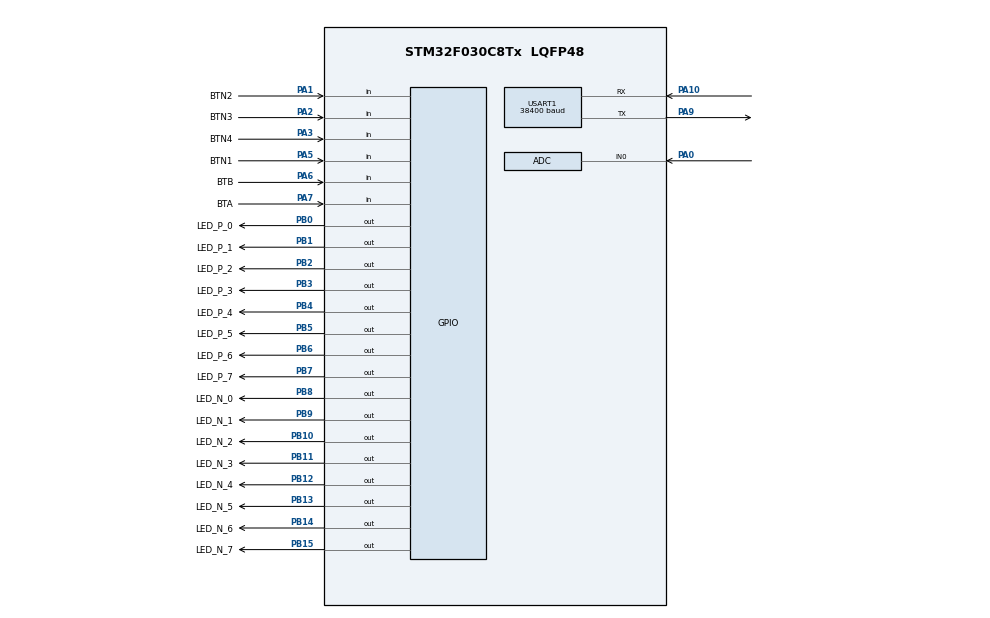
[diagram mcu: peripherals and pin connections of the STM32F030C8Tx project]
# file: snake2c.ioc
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ADC.ContinuousConvMode=ENABLE
Mcu.Family=STM32F0
Mcu.Name=STM32F030C8Tx
Mcu.Package=LQFP48
NVIC.TIM16_IRQn=true\:0\:0\:false\:false\:true\:true\:true\:true
PA0.Mode=IN0
PA0.Signal=ADC_IN0
PA1.GPIO_Label=BTN2
PA1.GPIO_PuPd=GPIO_PULLUP
PA1.Signal=GPIO_Input
PA10.Mode=Asynchronous
PA10.Signal=USART1_RX
PA13.Mode=Serial_Wire
PA13.Signal=SYS_SWDIO
PA14.Mode=Serial_Wire
PA14.Signal=SYS_SWCLK
PA2.GPIO_Label=BTN3
PA2.GPIO_PuPd=GPIO_PULLUP
PA2.Signal=GPIO_Input
PA3.GPIO_Label=BTN4
PA3.GPIO_PuPd=GPIO_PULLUP
PA3.Signal=GPIO_Input
PA5.GPIO_Label=BTN1
PA5.GPIO_PuPd=GPIO_PULLUP
PA5.Signal=GPIO_Input
PA6.GPIO_Label=BTB
PA6.GPIO_PuPd=GPIO_PULLUP
PA6.Signal=GPIO_Input
PA7.GPIO_Label=BTA
PA7.GPIO_PuPd=GPIO_PULLUP
PA7.Signal=GPIO_Input
PA9.Mode=Asynchronous
PA9.Signal=USART1_TX
PB0.GPIO_Label=LED_P_0
PB0.GPIO_Speed=GPIO_SPEED_FREQ_HIGH
PB0.Signal=GPIO_Output
PB1.GPIO_Label=LED_P_1
PB1.GPIO_Speed=GPIO_SPEED_FREQ_HIGH
PB1.Signal=GPIO_Output
PB10.GPIO_Label=LED_N_2
PB10.GPIO_ModeDefaultOutputPP=GPIO_MODE_OUTPUT_OD
PB10.GPIO_Speed=GPIO_SPEED_FREQ_HIGH
PB10.Signal=GPIO_Output
PB11.GPIO_Label=LED_N_3
PB11.GPIO_ModeDefaultOutputPP=GPIO_MODE_OUTPUT_OD
PB11.GPIO_Speed=GPIO_SPEED_FREQ_HIGH
PB11.Signal=GPIO_Output
PB12.GPIO_Label=LED_N_4
PB12.GPIO_ModeDefaultOutputPP=GPIO_MODE_OUTPUT_OD
PB12.GPIO_Speed=GPIO_SPEED_FREQ_HIGH
PB12.Signal=GPIO_Output
PB13.GPIO_Label=LED_N_5
PB13.GPIO_ModeDefaultOutputPP=GPIO_MODE_OUTPUT_OD
PB13.GPIO_Speed=GPIO_SPEED_FREQ_HIGH
PB13.Signal=GPIO_Output
PB14.GPIO_Label=LED_N_6
PB14.GPIO_ModeDefaultOutputPP=GPIO_MODE_OUTPUT_OD
PB14.GPIO_Speed=GPIO_SPEED_FREQ_HIGH
PB14.Signal=GPIO_Output
PB15.GPIO_Label=LED_N_7
PB15.GPIO_ModeDefaultOutputPP=GPIO_MODE_OUTPUT_OD
PB15.GPIO_Speed=GPIO_SPEED_FREQ_HIGH
PB15.Signal=GPIO_Output
PB2.GPIO_Label=LED_P_2
PB2.GPIO_Speed=GPIO_SPEED_FREQ_HIGH
PB2.Signal=GPIO_Output
PB3.GPIO_Label=LED_P_3
PB3.GPIO_Speed=GPIO_SPEED_FREQ_HIGH
PB3.Signal=GPIO_Output
PB4.GPIO_Label=LED_P_4
PB4.GPIO_Speed=GPIO_SPEED_FREQ_HIGH
PB4.Signal=GPIO_Output
PB5.GPIO_Label=LED_P_5
PB5.GPIO_Speed=GPIO_SPEED_FREQ_HIGH
PB5.Signal=GPIO_Output
PB6.GPIO_Label=LED_P_6
PB6.GPIO_Speed=GPIO_SPEED_FREQ_HIGH
PB6.Signal=GPIO_Output
PB7.GPIO_Label=LED_P_7
PB7.GPIO_Speed=GPIO_SPEED_FREQ_HIGH
PB7.Signal=GPIO_Output
PB8.GPIO_Label=LED_N_0
PB8.GPIO_ModeDefaultOutputPP=GPIO_MODE_OUTPUT_OD
PB8.GPIO_Speed=GPIO_SPEED_FREQ_HIGH
PB8.Signal=GPIO_Output
PB9.GPIO_Label=LED_N_1
PB9.GPIO_ModeDefaultOutputPP=GPIO_MODE_OUTPUT_OD
PB9.GPIO_Speed=GPIO_SPEED_FREQ_HIGH
PB9.Signal=GPIO_Output
ProjectManager.HeapSize=0x200
ProjectManager.StackSize=0x400
ProjectManager.TargetToolchain=STM32CubeIDE
TIM16.AutoReloadPreload=TIM_AUTORELOAD_PRELOAD_DISABLE
TIM16.ClockDivision=TIM_CLOCKDIVISION_DIV1
TIM16.CounterMode=TIM_COUNTERMODE_UP
TIM16.Period=1000
TIM16.Prescaler=0
TIM16.RepetitionCounter=0
USART1.AutoBaudRateEnableParam=UART_ADVFEATURE_AUTOBAUDRATE_DISABLE
USART1.BaudRate=38400
USART1.DMADisableonRxErrorParam=ADVFEATURE_DMA_ENABLEONRXERROR
USART1.DataInvertParam=ADVFEATURE_DATAINV_DISABLE
USART1.MSBFirstParam=ADVFEATURE_MSBFIRST_DISABLE
USART1.Mode=MODE_TX_RX
USART1.OneBitSampling=UART_ONE_BIT_SAMPLE_DISABLE
USART1.OverSampling=UART_OVERSAMPLING_16
USART1.OverrunDisableParam=ADVFEATURE_OVERRUN_ENABLE
USART1.Parity=PARITY_NONE
USART1.RxPinLevelInvertParam=ADVFEATURE_RXINV_DISABLE
USART1.StopBits=STOPBITS_1
USART1.SwapParam=ADVFEATURE_SWAP_DISABLE
USART1.TxPinLevelInvertParam=ADVFEATURE_TXINV_DISABLE
USART1.VirtualMode-Asynchronous=VM_ASYNC
USART1.WordLength=WORDLENGTH_8B
VP_TIM16_VS_ClockSourceINT.Mode=Enable_Timer
board=custom

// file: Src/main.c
/* USER CODE BEGIN Header */
/**
  ******************************************************************************
  * @file           : main.c
  * @brief          : Main program body
  ******************************************************************************
  * @attention
  *
  * Copyright (c) 2022 STMicroelectronics.
  * All rights reserved.
  *
  * This software is licensed under terms that can be found in the LICENSE file
  * in the root directory of this software component.
  * If no LICENSE file comes with this software, it is provided AS-IS.
  *
  ******************************************************************************
  */
/* USER CODE END Header */
#include "main.h"
#include "adc.h"
#include "tim.h"
#include "usart.h"
#include "gpio.h"

/* USER CODE BEGIN Includes */

#define GAME_SNAKE_ID 0
#define GAME_RACE_ID 1
#define GAME_ANIM_ID 2
#define MAIN_MENU_ID 3
#define MAX_ANIM_ID 10
#define DELAY_PER_LETTER 500

#include "screenBuffer.h"
#include "ascii_letter.h"
#include "game_snake.h"
#include "game_racer.h"
#include "anim_random.h"
#include "anim_swipe.h"
#include "anim_name.h"
#include "anim_ball.h"
#include "anim_life.h"

uint8_t GAME_MODE = 0;
uint8_t new_game_select = 0;
uint8_t currentAnimation = 2;

/* USER CODE END Includes */

void SystemClock_Config(void);

/* USER CODE BEGIN 0 */

//void main_menu()
//{
//	if(HAL_GPIO_ReadPin(BTN3_GPIO_Port, BTN3_Pin) == GPIO_PIN_RESET)	//left
//	{
//		if(new_game_select == 0)
//			new_game_select = 2;	//wrap-around
//		else
//			new_game_select--;
//		screen_show_letter(new_game_select + ASCII_ONE);	//show the game ID between 1 and 3
//		HAL_Delay(250);
//	}
//
//	if(HAL_GPIO_ReadPin(BTN4_GPIO_Port, BTN4_Pin) == GPIO_PIN_RESET)	//right
//	{
//		new_game_select++;
//		if(new_game_select == 3)
//			new_game_select = 0; //wrap-around
//
//		screen_show_letter(new_game_select + ASCII_ONE);	//show the game ID between 1 and 3
//		HAL_Delay(250);
//	}
//
//	if(HAL_GPIO_ReadPin(BTA_GPIO_Port, BTA_Pin) == GPIO_PIN_RESET)	//Confirm new game
//	{
//		GAME_MODE = new_game_select;
//	}
//}

void game_snake()
{
	snake_runGame();

	if(HAL_GPIO_ReadPin(BTN2_GPIO_Port, BTN2_Pin) == GPIO_PIN_RESET)
	  snake_set_new_direction(GOING_UP);

	else if(HAL_GPIO_ReadPin(BTN1_GPIO_Port, BTN1_Pin) == GPIO_PIN_RESET)
	  snake_set_new_direction(GOING_DOWN);

	else if(HAL_GPIO_ReadPin(BTN3_GPIO_Port, BTN3_Pin) == GPIO_PIN_RESET)
	  snake_set_new_direction(GOING_LEFT);

	else if(HAL_GPIO_ReadPin(BTN4_GPIO_Port, BTN4_Pin) == GPIO_PIN_RESET)
	  snake_set_new_direction(GOING_RIGHT);
}

void game_anim()
{
	static uint32_t schedulerTimestamp_updateName = 0;
	if( HAL_GPIO_ReadPin(BTN4_GPIO_Port, BTN4_Pin) == GPIO_PIN_RESET )
	{
		currentAnimation++;
		if(currentAnimation == MAX_ANIM_ID)
			currentAnimation = 0;

		while(HAL_GPIO_ReadPin(BTN4_GPIO_Port, BTN4_Pin) == GPIO_PIN_RESET)
		{
			screen_show_letter((currentAnimation < 10)?(ASCII_ZERO + currentAnimation):(ASCII_UPPER_A + currentAnimation - 10));
			HAL_Delay(100);
		}
	}
	else if( HAL_GPIO_ReadPin(BTN3_GPIO_Port, BTN3_Pin) == GPIO_PIN_RESET )
	{
		if(currentAnimation == 0)
			currentAnimation = MAX_ANIM_ID-1;
		else
			currentAnimation--;

		while(HAL_GPIO_ReadPin(BTN3_GPIO_Port, BTN3_Pin) == GPIO_PIN_RESET)
		{
			screen_show_letter((currentAnimation < 10)?(ASCII_ZERO + currentAnimation):(ASCII_UPPER_A + currentAnimation - 10));
			HAL_Delay(100);
		}
	}

	switch(currentAnimation)
	{
		 case 0:
			 anim_random_run();
			 break;
		 case 1:
			 if(HAL_GetTick() - schedulerTimestamp_updateName > DELAY_PER_LETTER)
			 {
				 schedulerTimestamp_updateName = HAL_GetTick();
				 anim_name_word("DEFCON32! ");
			 }
			 break;
		 case 2:
			 anim_horizontal_run();
			 break;
		 case 3:
			 anim_vertical_run();
			 break;
		 case 4:
			 anim_diagonal_run();
			 break;
		 case 5:
			 anim_rotate_run();
			 break;
		 case 6:
			 if(HAL_GetTick() - schedulerTimestamp_updateName > DELAY_PER_LETTER)
			 {
				 schedulerTimestamp_updateName = HAL_GetTick();
				 anim_name_word("RAWR! ^.^ ");
			 }
			 break;
		 case 7:
			 anim_swipeAll_run();
			 break;
		 case 8:
			 anim_ball_run();
			 break;
		 case 9:
			 anim_life_run();
			 break;
		 default:
			 screen_fill(); HAL_Delay(10);
			 screen_clear(); HAL_Delay(10);
			 break;
	}
}

/* USER CODE END 0 */

int main(void)
{

  /* MCU Configuration--------------------------------------------------------*/

  /* Reset of all peripherals, Initializes the Flash interface and the Systick. */
  HAL_Init();

  /* Configure the system clock */
  SystemClock_Config();

  /* Initialize all configured peripherals */
  MX_GPIO_Init();
  MX_USART1_UART_Init();
  MX_TIM16_Init();
  MX_ADC_Init();
  /* USER CODE BEGIN 2 */

  //Generate seed from floating ADC pin
  HAL_ADC_Start(&hadc);
  uint32_t seed = 0;
  uint32_t currentVal = 0;
  for(int i=0; i<10; i++)
  {
	  HAL_ADC_PollForConversion(&hadc, 0xFF);
	  currentVal = HAL_ADC_GetValue(&hadc);
	  seed = seed + currentVal;
	  HAL_Delay(2);
  }
  srand(seed);	//input seed into sRand

  //start timer for screen refresh
  HAL_TIM_Base_Start_IT(&htim16);

  // SETUP games modes
  uint8_t firstBoot = 1;
  anim_life_setup();
  if(HAL_GPIO_ReadPin(BTA_GPIO_Port, BTA_Pin) == GPIO_PIN_RESET)
	  GAME_MODE = 1;
  else if(HAL_GPIO_ReadPin(BTB_GPIO_Port, BTB_Pin) == GPIO_PIN_RESET)
	  GAME_MODE = 2;

  /* USER CODE END 2 */

  /* Infinite loop */
  /* USER CODE BEGIN WHILE */
  uint8_t row,col = 0;
  while (1)
  {
    /* USER CODE END WHILE */

    /* USER CODE BEGIN 3 */

//	while(HAL_GPIO_ReadPin(BTB_GPIO_Port, BTB_Pin) == GPIO_PIN_RESET && GAME_MODE != MAIN_MENU_ID) //HOLD "B" to enter the main menu
//	{
//		//clear the screen
//		if(row==0 && col==0)
//			screen_clear();
//
//		screen_set_bit(row, col, 1);
//		col++;
//		if(col==8)
//		{
//			col=0;
//			row++;
//		}
//		if(row==8)
//		{
//			GAME_MODE = MAIN_MENU_ID;
//			firstBoot = 1;
//			screen_show_letter(new_game_select + ASCII_ONE);	//show the game ID between 1 and 3
//			row = 0;
//			col = 0;
//		}
//
//		HAL_Delay(20);
//	}
//	//main menu was not loaded, return to game
//	if(row!=0 || col != 0)
//	{
//		screen_clear();
//		row = 0;	//reset main-menu-loading variables
//		col = 0;
//	}

	switch(GAME_MODE)
	{
	  case GAME_SNAKE_ID:
		  if(firstBoot == 1)
		  {
			  game_startNewGame();
			  firstBoot = 0;	//de-assert flag
		  }
		  game_snake();
		  break;
	  case GAME_RACE_ID:
		  gameRacer_run();
		  break;
	  case GAME_ANIM_ID:
		  game_anim();
		  break;
	  /*case MAIN_MENU_ID:
		  main_menu();
		  break;*/
	}
  }
  /* USER CODE END 3 */
}

void SystemClock_Config(void)
{
  RCC_OscInitTypeDef RCC_OscInitStruct = {0};
  RCC_ClkInitTypeDef RCC_ClkInitStruct = {0};
  RCC_PeriphCLKInitTypeDef PeriphClkInit = {0};

  /** Initializes the RCC Oscillators according to the specified parameters
  * in the RCC_OscInitTypeDef structure.
  */
  RCC_OscInitStruct.OscillatorType = RCC_OSCILLATORTYPE_HSI|RCC_OSCILLATORTYPE_HSI14;
  RCC_OscInitStruct.HSIState = RCC_HSI_ON;
  RCC_OscInitStruct.HSI14State = RCC_HSI14_ON;
  RCC_OscInitStruct.HSICalibrationValue = RCC_HSICALIBRATION_DEFAULT;
  RCC_OscInitStruct.HSI14CalibrationValue = 16;
  RCC_OscInitStruct.PLL.PLLState = RCC_PLL_NONE;
  if (HAL_RCC_OscConfig(&RCC_OscInitStruct) != HAL_OK)
  {
    Error_Handler();
  }

  /** Initializes the CPU, AHB and APB buses clocks
  */
  RCC_ClkInitStruct.ClockType = RCC_CLOCKTYPE_HCLK|RCC_CLOCKTYPE_SYSCLK
                              |RCC_CLOCKTYPE_PCLK1;
  RCC_ClkInitStruct.SYSCLKSource = RCC_SYSCLKSOURCE_HSI;
  RCC_ClkInitStruct.AHBCLKDivider = RCC_SYSCLK_DIV1;
  RCC_ClkInitStruct.APB1CLKDivider = RCC_HCLK_DIV1;

  if (HAL_RCC_ClockConfig(&RCC_ClkInitStruct, FLASH_LATENCY_0) != HAL_OK)
  {
    Error_Handler();
  }
  PeriphClkInit.PeriphClockSelection = RCC_PERIPHCLK_USART1;
  PeriphClkInit.Usart1ClockSelection = RCC_USART1CLKSOURCE_PCLK1;
  if (HAL_RCCEx_PeriphCLKConfig(&PeriphClkInit) != HAL_OK)
  {
    Error_Handler();
  }
}

void Error_Handler(void)
{
  __disable_irq();
  while (1)
  {
  }
}
